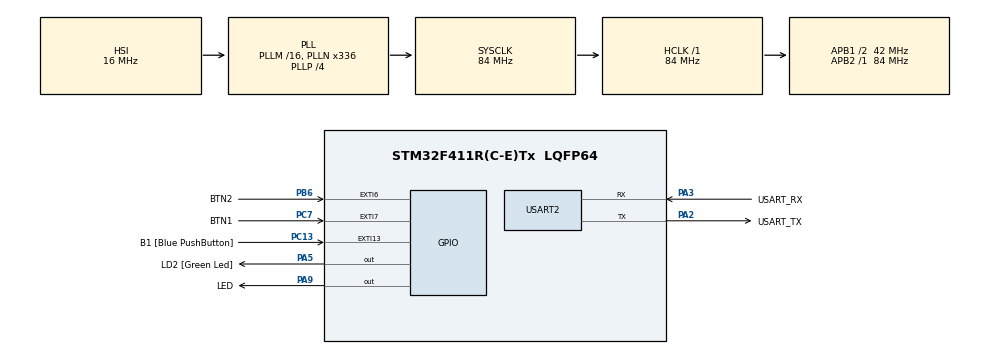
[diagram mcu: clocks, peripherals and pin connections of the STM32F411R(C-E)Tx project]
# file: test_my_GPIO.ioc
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Mcu.Family=STM32F4
Mcu.Name=STM32F411R(C-E)Tx
Mcu.Package=LQFP64
NVIC.EXTI15_10_IRQn=true\:0\:0\:false\:false\:true\:true\:true\:true
NVIC.EXTI9_5_IRQn=true\:0\:0\:false\:false\:true\:true\:true\:true
NVIC.PriorityGroup=NVIC_PRIORITYGROUP_0
PA13.GPIO_Label=TMS
PA13.Mode=Serial_Wire
PA13.Signal=SYS_JTMS-SWDIO
PA14.GPIO_Label=TCK
PA14.Mode=Serial_Wire
PA14.Signal=SYS_JTCK-SWCLK
PA2.GPIO_Label=USART_TX
PA2.Mode=Asynchronous
PA2.Signal=USART2_TX
PA3.GPIO_Label=USART_RX
PA3.Mode=Asynchronous
PA3.Signal=USART2_RX
PA5.GPIO_Label=LD2 [Green Led]
PA5.Signal=GPIO_Output
PA9.GPIO_Label=LED
PA9.Signal=GPIO_Output
PB3.GPIO_Label=SWO
PB3.Signal=SYS_JTDO-SWO
PB6.GPIO_Label=BTN2
PB6.Signal=GPXTI6
PC13-ANTI_TAMP.GPIO_Label=B1 [Blue PushButton]
PC13-ANTI_TAMP.GPIO_ModeDefaultEXTI=GPIO_MODE_IT_FALLING
PC13-ANTI_TAMP.Signal=GPXTI13
PC14-OSC32_IN.Mode=LSE-External-Oscillator
PC14-OSC32_IN.Signal=RCC_OSC32_IN
PC15-OSC32_OUT.Mode=LSE-External-Oscillator
PC15-OSC32_OUT.Signal=RCC_OSC32_OUT
PC7.GPIO_Label=BTN1
PC7.Signal=GPXTI7
PH0\ -\ OSC_IN.Mode=HSE-External-Clock-Source
PH0\ -\ OSC_IN.Signal=RCC_OSC_IN
PH1\ -\ OSC_OUT.Mode=HSE-External-Clock-Source
PH1\ -\ OSC_OUT.Signal=RCC_OSC_OUT
ProjectManager.HeapSize=0x200
ProjectManager.StackSize=0x400
ProjectManager.TargetToolchain=STM32CubeIDE
RCC.48MHZClocksFreq_Value=84000000
RCC.AHBFreq_Value=84000000
RCC.APB1CLKDivider=RCC_HCLK_DIV2
RCC.APB1Freq_Value=42000000
RCC.APB1TimFreq_Value=84000000
RCC.APB2Freq_Value=84000000
RCC.APB2TimFreq_Value=84000000
RCC.CortexFreq_Value=84000000
RCC.FLatency-AdvancedSettings=FLASH_LATENCY_2
RCC.HCLKFreq_Value=84000000
RCC.HSE_VALUE=8000000
RCC.HSI_VALUE=16000000
RCC.PLLN=336
RCC.PLLP=RCC_PLLP_DIV4
RCC.SYSCLKFreq_VALUE=84000000
RCC.SYSCLKSource=RCC_SYSCLKSOURCE_PLLCLK
RCC.VCOOutputFreq_Value=336000000
USART2.VirtualMode=VM_ASYNC
board=NUCLEO-F411RE

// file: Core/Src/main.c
/* USER CODE BEGIN Header */
/**
  ******************************************************************************
  * @file           : main.c
  * @brief          : Main program body
  ******************************************************************************
  * @attention
  *
  * Copyright (c) 2024 STMicroelectronics.
  * All rights reserved.
  *
  * This software is licensed under terms that can be found in the LICENSE file
  * in the root directory of this software component.
  * If no LICENSE file comes with this software, it is provided AS-IS.
  *
  ******************************************************************************
  */
/* USER CODE END Header */
#include "main.h"

UART_HandleTypeDef huart2;

void SystemClock_Config(void);
static void MX_GPIO_Init(void);
static void MX_USART2_UART_Init(void);

/* USER CODE BEGIN 0 */
int time = 1000;
int mode = 0;
void HAL_GPIO_EXTI_Callback(uint16_t GPIO_Pin)
{
	switch(GPIO_Pin)
	{
	case BTN1_Pin :
		mode = mode ? 0 : 1;
		break;
	case BTN2_Pin :
		/*time -= 100;
		if(time == 100)	time = 500;*/
		time = (time == 100) ? 1000 : 500;
		break;
	}
}
/* USER CODE END 0 */

int main(void)
{

  /* MCU Configuration--------------------------------------------------------*/

  /* Reset of all peripherals, Initializes the Flash interface and the Systick. */
  HAL_Init();

  /* Configure the system clock */
  SystemClock_Config();

  /* Initialize all configured peripherals */
  MX_GPIO_Init();
  MX_USART2_UART_Init();

  /* Infinite loop */
  while (1)
  {

    /* USER CODE BEGIN 3 */
	  if(mode)
	  {
		  HAL_GPIO_WritePin(LED_GPIO_Port, LED_Pin, 1);
		  HAL_Delay(time);
		  HAL_GPIO_WritePin(LED_GPIO_Port, LED_Pin, 0);
		  HAL_Delay(time);
	  }
  }
  /* USER CODE END 3 */
}

void SystemClock_Config(void)
{
  RCC_OscInitTypeDef RCC_OscInitStruct = {0};
  RCC_ClkInitTypeDef RCC_ClkInitStruct = {0};

  /** Configure the main internal regulator output voltage
  */
  __HAL_RCC_PWR_CLK_ENABLE();
  __HAL_PWR_VOLTAGESCALING_CONFIG(PWR_REGULATOR_VOLTAGE_SCALE1);

  /** Initializes the RCC Oscillators according to the specified parameters
  * in the RCC_OscInitTypeDef structure.
  */
  RCC_OscInitStruct.OscillatorType = RCC_OSCILLATORTYPE_HSI;
  RCC_OscInitStruct.HSIState = RCC_HSI_ON;
  RCC_OscInitStruct.HSICalibrationValue = RCC_HSICALIBRATION_DEFAULT;
  RCC_OscInitStruct.PLL.PLLState = RCC_PLL_ON;
  RCC_OscInitStruct.PLL.PLLSource = RCC_PLLSOURCE_HSI;
  RCC_OscInitStruct.PLL.PLLM = 16;
  RCC_OscInitStruct.PLL.PLLN = 336;
  RCC_OscInitStruct.PLL.PLLP = RCC_PLLP_DIV4;
  RCC_OscInitStruct.PLL.PLLQ = 4;
  if (HAL_RCC_OscConfig(&RCC_OscInitStruct) != HAL_OK)
  {
    Error_Handler();
  }

  /** Initializes the CPU, AHB and APB buses clocks
  */
  RCC_ClkInitStruct.ClockType = RCC_CLOCKTYPE_HCLK|RCC_CLOCKTYPE_SYSCLK
                              |RCC_CLOCKTYPE_PCLK1|RCC_CLOCKTYPE_PCLK2;
  RCC_ClkInitStruct.SYSCLKSource = RCC_SYSCLKSOURCE_PLLCLK;
  RCC_ClkInitStruct.AHBCLKDivider = RCC_SYSCLK_DIV1;
  RCC_ClkInitStruct.APB1CLKDivider = RCC_HCLK_DIV2;
  RCC_ClkInitStruct.APB2CLKDivider = RCC_HCLK_DIV1;

  if (HAL_RCC_ClockConfig(&RCC_ClkInitStruct, FLASH_LATENCY_2) != HAL_OK)
  {
    Error_Handler();
  }
}

static void MX_USART2_UART_Init(void)
{

  huart2.Instance = USART2;
  huart2.Init.BaudRate = 115200;
  huart2.Init.WordLength = UART_WORDLENGTH_8B;
  huart2.Init.StopBits = UART_STOPBITS_1;
  huart2.Init.Parity = UART_PARITY_NONE;
  huart2.Init.Mode = UART_MODE_TX_RX;
  huart2.Init.HwFlowCtl = UART_HWCONTROL_NONE;
  huart2.Init.OverSampling = UART_OVERSAMPLING_16;
  if (HAL_UART_Init(&huart2) != HAL_OK)
  {
    Error_Handler();
  }

}

static void MX_GPIO_Init(void)
{
  GPIO_InitTypeDef GPIO_InitStruct = {0};

  /* GPIO Ports Clock Enable */
  __HAL_RCC_GPIOC_CLK_ENABLE();
  __HAL_RCC_GPIOH_CLK_ENABLE();
  __HAL_RCC_GPIOA_CLK_ENABLE();
  __HAL_RCC_GPIOB_CLK_ENABLE();

  /*Configure GPIO pin Output Level */
  HAL_GPIO_WritePin(GPIOA, LD2_Pin|LED_Pin, GPIO_PIN_RESET);

  /*Configure GPIO pin : B1_Pin */
  GPIO_InitStruct.Pin = B1_Pin;
  GPIO_InitStruct.Mode = GPIO_MODE_IT_FALLING;
  GPIO_InitStruct.Pull = GPIO_NOPULL;
  HAL_GPIO_Init(B1_GPIO_Port, &GPIO_InitStruct);

  /*Configure GPIO pins : LD2_Pin LED_Pin */
  GPIO_InitStruct.Pin = LD2_Pin|LED_Pin;
  GPIO_InitStruct.Mode = GPIO_MODE_OUTPUT_PP;
  GPIO_InitStruct.Pull = GPIO_NOPULL;
  GPIO_InitStruct.Speed = GPIO_SPEED_FREQ_LOW;
  HAL_GPIO_Init(GPIOA, &GPIO_InitStruct);

  /*Configure GPIO pin : BTN1_Pin */
  GPIO_InitStruct.Pin = BTN1_Pin;
  GPIO_InitStruct.Mode = GPIO_MODE_IT_RISING;
  GPIO_InitStruct.Pull = GPIO_NOPULL;
  HAL_GPIO_Init(BTN1_GPIO_Port, &GPIO_InitStruct);

  /*Configure GPIO pin : BTN2_Pin */
  GPIO_InitStruct.Pin = BTN2_Pin;
  GPIO_InitStruct.Mode = GPIO_MODE_IT_RISING;
  GPIO_InitStruct.Pull = GPIO_NOPULL;
  HAL_GPIO_Init(BTN2_GPIO_Port, &GPIO_InitStruct);

  /* EXTI interrupt init*/
  HAL_NVIC_SetPriority(EXTI9_5_IRQn, 0, 0);
  HAL_NVIC_EnableIRQ(EXTI9_5_IRQn);

  HAL_NVIC_SetPriority(EXTI15_10_IRQn, 0, 0);
  HAL_NVIC_EnableIRQ(EXTI15_10_IRQn);

}

void Error_Handler(void)
{
  __disable_irq();
  while (1)
  {
  }
}
